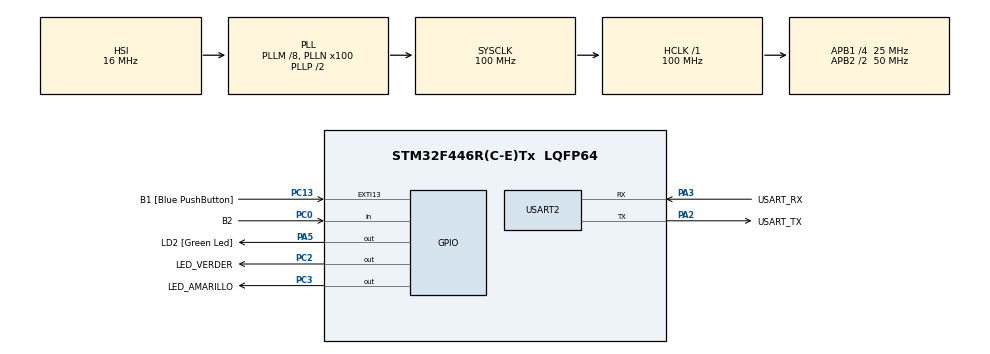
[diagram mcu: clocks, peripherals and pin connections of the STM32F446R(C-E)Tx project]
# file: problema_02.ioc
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FREERTOS.Tasks01=defaultTask,24,128,StartDefaultTask,Default,NULL,Dynamic,NULL,NULL
FREERTOS.configUSE_NEWLIB_REENTRANT=1
Mcu.Family=STM32F4
Mcu.Name=STM32F446R(C-E)Tx
Mcu.Package=LQFP64
NVIC.PriorityGroup=NVIC_PRIORITYGROUP_4
NVIC.TIM1_UP_TIM10_IRQn=true\:15\:0\:false\:false\:true\:false\:false\:true\:true
NVIC.TimeBase=TIM1_UP_TIM10_IRQn
NVIC.TimeBaseIP=TIM1
PA13.GPIO_Label=TMS
PA13.Mode=Serial_Wire
PA13.Signal=SYS_JTMS-SWDIO
PA14.GPIO_Label=TCK
PA14.Mode=Serial_Wire
PA14.Signal=SYS_JTCK-SWCLK
PA2.GPIO_Label=USART_TX
PA2.Mode=Asynchronous
PA2.Signal=USART2_TX
PA3.GPIO_Label=USART_RX
PA3.Mode=Asynchronous
PA3.Signal=USART2_RX
PA5.GPIO_Label=LD2 [Green Led]
PA5.Signal=GPIO_Output
PB3.GPIO_Label=SWO
PB3.Signal=SYS_JTDO-SWO
PC0.GPIO_Label=B2
PC0.GPIO_PuPd=GPIO_PULLUP
PC0.Signal=GPIO_Input
PC13.GPIO_Label=B1 [Blue PushButton]
PC13.GPIO_ModeDefaultEXTI=GPIO_MODE_IT_FALLING
PC13.Signal=GPXTI13
PC14-OSC32_IN.Mode=LSE-External-Oscillator
PC14-OSC32_IN.Signal=RCC_OSC32_IN
PC15-OSC32_OUT.Mode=LSE-External-Oscillator
PC15-OSC32_OUT.Signal=RCC_OSC32_OUT
PC2.GPIO_Label=LED_VERDER
PC2.Signal=GPIO_Output
PC3.GPIO_Label=LED_AMARILLO
PC3.Signal=GPIO_Output
PH0-OSC_IN.Mode=HSE-External-Oscillator
PH0-OSC_IN.Signal=RCC_OSC_IN
PH1-OSC_OUT.Mode=HSE-External-Oscillator
PH1-OSC_OUT.Signal=RCC_OSC_OUT
ProjectManager.HeapSize=0x200
ProjectManager.StackSize=0x400
ProjectManager.TargetToolchain=STM32CubeIDE
RCC.48MHZClocksFreq_Value=84000000
RCC.AHBFreq_Value=100000000
RCC.APB1CLKDivider=RCC_HCLK_DIV4
RCC.APB1Freq_Value=25000000
RCC.APB1TimFreq_Value=50000000
RCC.APB2CLKDivider=RCC_HCLK_DIV2
RCC.APB2Freq_Value=50000000
RCC.APB2TimFreq_Value=100000000
RCC.CortexFreq_Value=100000000
RCC.FLatency-AdvancedSettings=FLASH_LATENCY_3
RCC.HCLKFreq_Value=100000000
RCC.HSE_VALUE=8000000
RCC.HSI_VALUE=16000000
RCC.PLLM=8
RCC.PLLN=100
RCC.SYSCLKFreq_VALUE=100000000
RCC.SYSCLKSource=RCC_SYSCLKSOURCE_PLLCLK
RCC.USBFreq_Value=100000000
RCC.VCOOutputFreq_Value=200000000
USART2.VirtualMode=VM_ASYNC
VP_FREERTOS_VS_CMSIS_V2.Mode=CMSIS_V2
VP_SYS_VS_tim1.Mode=TIM1
board=NUCLEO-F446RE

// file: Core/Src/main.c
/* USER CODE BEGIN Header */
/**
  ******************************************************************************
  * @file           : main.c
  * @brief          : Main program body
  ******************************************************************************
  * @attention
  *
  * Copyright (c) 2026 STMicroelectronics.
  * All rights reserved.
  *
  * This software is licensed under terms that can be found in the LICENSE file
  * in the root directory of this software component.
  * If no LICENSE file comes with this software, it is provided AS-IS.
  *
  ******************************************************************************
  */
/* USER CODE END Header */
#include "main.h"
#include "cmsis_os.h"

/* USER CODE BEGIN Includes */
#include "interfaz_tp.h"
/* USER CODE END Includes */

/* USER CODE BEGIN PTD */
typedef struct {
	int led;
	int pulsador;
} hardware_tp_t;
/* USER CODE END PTD */

/* USER CODE BEGIN PD */
#define LED_TICKS (125)
/* USER CODE END PD */

UART_HandleTypeDef huart2;

/* Definitions for defaultTask */
osThreadId_t defaultTaskHandle;
const osThreadAttr_t defaultTask_attributes = {
  .name = "defaultTask",
  .stack_size = 128 * 4,
  .priority = (osPriority_t) osPriorityNormal,
};
/* USER CODE BEGIN PV */
uint32_t ticks;
hardware_tp_t hardware_tareas[2];
/* USER CODE END PV */

void SystemClock_Config(void);
static void MX_GPIO_Init(void);
static void MX_USART2_UART_Init(void);
void StartDefaultTask(void *argument);

/* USER CODE BEGIN 0 */
void tarea_led_pulsador(void *p){
	int pulsador = ((hardware_tp_t*)p)->pulsador;
	int led = ((hardware_tp_t*)p)->led;
	while(1){
		if(!pulsador_activo(pulsador)){
			invertir_led(led);
		}
		vTaskDelay(pdMS_TO_TICKS(LED_TICKS));
	}
}
/* USER CODE END 0 */

int main(void)
{

  /* MCU Configuration--------------------------------------------------------*/

  /* Reset of all peripherals, Initializes the Flash interface and the Systick. */
  HAL_Init();

  /* Configure the system clock */
  SystemClock_Config();

  /* Initialize all configured peripherals */
  MX_GPIO_Init();
  MX_USART2_UART_Init();
  /* USER CODE BEGIN 2 */
  ticks = HAL_GetTick();
  /* USER CODE END 2 */

  /* Init scheduler */
  osKernelInitialize();

  /* Create the thread(s) */
  /* creation of defaultTask */
  defaultTaskHandle = osThreadNew(StartDefaultTask, NULL, &defaultTask_attributes);

  /* USER CODE BEGIN RTOS_THREADS */
  /* add threads, ... */
  hardware_tareas[0].led = 0;
  hardware_tareas[0].pulsador = 0;
  hardware_tareas[1].led = 1;
  hardware_tareas[1].pulsador = 1;

  for(int i=0; i<2; i++){
	  xTaskCreate(tarea_led_pulsador,
	  		  	  "led",
	  			  configMINIMAL_STACK_SIZE,
	  			  &hardware_tareas[i],
	  			  tskIDLE_PRIORITY+1+i,
				  NULL);
  }

  /* USER CODE END RTOS_THREADS */

  /* Start scheduler */
  osKernelStart();

  /* We should never get here as control is now taken by the scheduler */

  /* Infinite loop */
  while (1)
  {

  }
}

void SystemClock_Config(void)
{
  RCC_OscInitTypeDef RCC_OscInitStruct = {0};
  RCC_ClkInitTypeDef RCC_ClkInitStruct = {0};

  /** Configure the main internal regulator output voltage
  */
  __HAL_RCC_PWR_CLK_ENABLE();
  __HAL_PWR_VOLTAGESCALING_CONFIG(PWR_REGULATOR_VOLTAGE_SCALE3);

  /** Initializes the RCC Oscillators according to the specified parameters
  * in the RCC_OscInitTypeDef structure.
  */
  RCC_OscInitStruct.OscillatorType = RCC_OSCILLATORTYPE_HSI;
  RCC_OscInitStruct.HSIState = RCC_HSI_ON;
  RCC_OscInitStruct.HSICalibrationValue = RCC_HSICALIBRATION_DEFAULT;
  RCC_OscInitStruct.PLL.PLLState = RCC_PLL_ON;
  RCC_OscInitStruct.PLL.PLLSource = RCC_PLLSOURCE_HSI;
  RCC_OscInitStruct.PLL.PLLM = 8;
  RCC_OscInitStruct.PLL.PLLN = 100;
  RCC_OscInitStruct.PLL.PLLP = RCC_PLLP_DIV2;
  RCC_OscInitStruct.PLL.PLLQ = 2;
  RCC_OscInitStruct.PLL.PLLR = 2;
  if (HAL_RCC_OscConfig(&RCC_OscInitStruct) != HAL_OK)
  {
    Error_Handler();
  }

  /** Initializes the CPU, AHB and APB buses clocks
  */
  RCC_ClkInitStruct.ClockType = RCC_CLOCKTYPE_HCLK|RCC_CLOCKTYPE_SYSCLK
                              |RCC_CLOCKTYPE_PCLK1|RCC_CLOCKTYPE_PCLK2;
  RCC_ClkInitStruct.SYSCLKSource = RCC_SYSCLKSOURCE_PLLCLK;
  RCC_ClkInitStruct.AHBCLKDivider = RCC_SYSCLK_DIV1;
  RCC_ClkInitStruct.APB1CLKDivider = RCC_HCLK_DIV4;
  RCC_ClkInitStruct.APB2CLKDivider = RCC_HCLK_DIV2;

  if (HAL_RCC_ClockConfig(&RCC_ClkInitStruct, FLASH_LATENCY_3) != HAL_OK)
  {
    Error_Handler();
  }
}

static void MX_USART2_UART_Init(void)
{

  huart2.Instance = USART2;
  huart2.Init.BaudRate = 115200;
  huart2.Init.WordLength = UART_WORDLENGTH_8B;
  huart2.Init.StopBits = UART_STOPBITS_1;
  huart2.Init.Parity = UART_PARITY_NONE;
  huart2.Init.Mode = UART_MODE_TX_RX;
  huart2.Init.HwFlowCtl = UART_HWCONTROL_NONE;
  huart2.Init.OverSampling = UART_OVERSAMPLING_16;
  if (HAL_UART_Init(&huart2) != HAL_OK)
  {
    Error_Handler();
  }

}

static void MX_GPIO_Init(void)
{
  GPIO_InitTypeDef GPIO_InitStruct = {0};

  /* GPIO Ports Clock Enable */
  __HAL_RCC_GPIOC_CLK_ENABLE();
  __HAL_RCC_GPIOH_CLK_ENABLE();
  __HAL_RCC_GPIOA_CLK_ENABLE();
  __HAL_RCC_GPIOB_CLK_ENABLE();

  /*Configure GPIO pin Output Level */
  HAL_GPIO_WritePin(GPIOC, LED_VERDER_Pin|LED_AMARILLO_Pin, GPIO_PIN_RESET);

  /*Configure GPIO pin Output Level */
  HAL_GPIO_WritePin(LD2_GPIO_Port, LD2_Pin, GPIO_PIN_RESET);

  /*Configure GPIO pin : B1_Pin */
  GPIO_InitStruct.Pin = B1_Pin;
  GPIO_InitStruct.Mode = GPIO_MODE_IT_FALLING;
  GPIO_InitStruct.Pull = GPIO_NOPULL;
  HAL_GPIO_Init(B1_GPIO_Port, &GPIO_InitStruct);

  /*Configure GPIO pin : B2_Pin */
  GPIO_InitStruct.Pin = B2_Pin;
  GPIO_InitStruct.Mode = GPIO_MODE_INPUT;
  GPIO_InitStruct.Pull = GPIO_PULLUP;
  HAL_GPIO_Init(B2_GPIO_Port, &GPIO_InitStruct);

  /*Configure GPIO pins : LED_VERDER_Pin LED_AMARILLO_Pin */
  GPIO_InitStruct.Pin = LED_VERDER_Pin|LED_AMARILLO_Pin;
  GPIO_InitStruct.Mode = GPIO_MODE_OUTPUT_PP;
  GPIO_InitStruct.Pull = GPIO_NOPULL;
  GPIO_InitStruct.Speed = GPIO_SPEED_FREQ_LOW;
  HAL_GPIO_Init(GPIOC, &GPIO_InitStruct);

  /*Configure GPIO pin : LD2_Pin */
  GPIO_InitStruct.Pin = LD2_Pin;
  GPIO_InitStruct.Mode = GPIO_MODE_OUTPUT_PP;
  GPIO_InitStruct.Pull = GPIO_NOPULL;
  GPIO_InitStruct.Speed = GPIO_SPEED_FREQ_LOW;
  HAL_GPIO_Init(LD2_GPIO_Port, &GPIO_InitStruct);

}

void StartDefaultTask(void *argument)
{
  for(;;)
  {
    osDelay(1);
  }
}

void HAL_TIM_PeriodElapsedCallback(TIM_HandleTypeDef *htim)
{
  if (htim->Instance == TIM1)
  {
    HAL_IncTick();
  }
}

void Error_Handler(void)
{
  __disable_irq();
  while (1)
  {
  }
}
